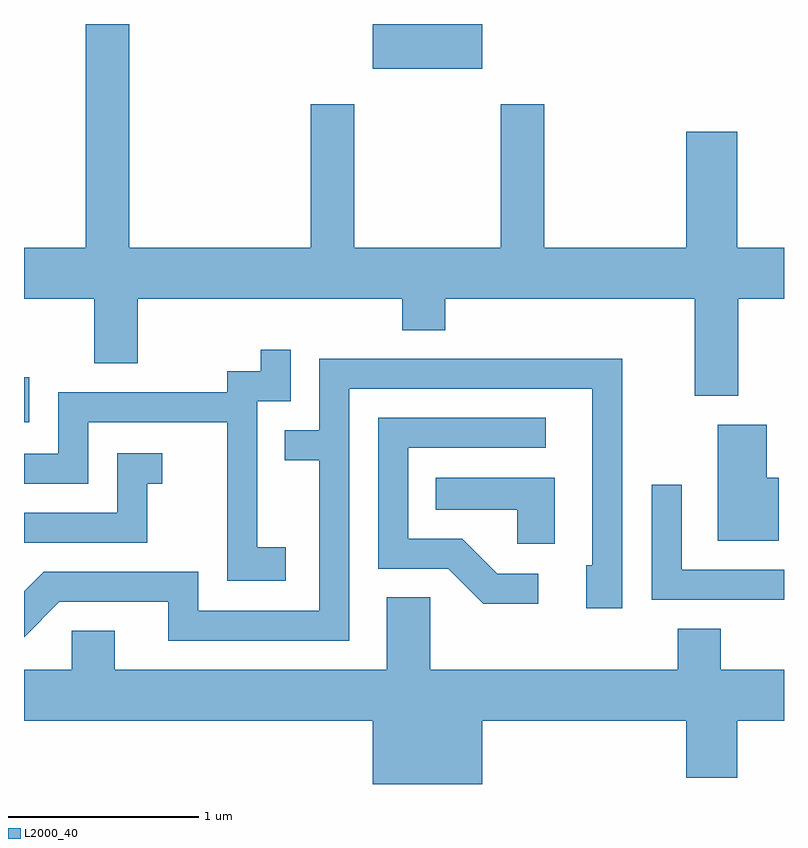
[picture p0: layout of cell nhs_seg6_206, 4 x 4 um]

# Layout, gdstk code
import gdstk
lib = gdstk.Library(unit=1e-6, precision=1e-09)
def R(c, l, rs):  # rectangles x0, y0, x1, y1
    for r in rs: c.add(gdstk.rectangle(r[:2], r[2:], *l))
def P(c, l, *ps):  # polygons
    for p in ps: c.add(gdstk.Polygon(p, *l))
L2000_40 = (2000, 40)

nhs_seg6_206 = lib.new_cell('nhs_seg6_206')
R(nhs_seg6_206, L2000_40, [(191.611,1536.066,191.639,1536.303), (193.446,1537.926,194.024,1538.162)])
P(nhs_seg6_206, L2000_40, [(195.369,1536.716),(195.611,1536.716),(195.611,1536.984),(195.364,1536.984),(195.364,1537.594),(195.096,1537.594),(195.096,1536.984),(194.349,1536.984),(194.349,1537.739),(194.121,1537.739),(194.121,1536.984),(193.349,1536.984),(193.349,1537.739),(193.121,1537.739),(193.121,1536.984),(192.164,1536.984),(192.164,1538.162),(191.936,1538.162),(191.936,1536.984),(191.611,1536.984),(191.611,1536.716),(191.981,1536.716),(191.981,1536.376),(192.209,1536.376),(192.209,1536.716),(193.601,1536.716),(193.601,1536.551),(193.829,1536.551),(193.829,1536.716),(195.141,1536.716),(195.141,1536.206),(195.369,1536.206)],
  [(192.989,1535.409),(192.839,1535.409),(192.839,1536.176),(193.014,1536.176),(193.014,1536.448),(192.856,1536.448),(192.856,1536.334),(192.681,1536.334),(192.681,1536.224),(191.791,1536.224),(191.791,1535.899),(191.611,1535.899),(191.611,1535.741),(191.949,1535.741),(191.949,1536.066),(192.681,1536.066),(192.681,1535.231),(192.989,1535.231)],
  [(193.324,1536.241),(194.601,1536.241),(194.601,1535.314),(194.571,1535.314),(194.571,1535.086),(194.759,1535.086),(194.759,1536.399),(193.166,1536.399),(193.166,1536.024),(192.983,1536.024),(192.983,1535.866),(193.166,1535.866),(193.166,1535.074),(192.529,1535.074),(192.529,1535.279),(191.714,1535.279),(191.611,1535.176),(191.611,1534.935),(191.797,1535.121),(192.371,1535.121),(192.371,1534.916),(193.324,1534.916)],
  [(194.318,1535.269),(194.102,1535.269),(193.917,1535.454),(193.634,1535.454),(193.634,1535.931),(194.358,1535.931),(194.358,1536.089),(193.476,1536.089),(193.476,1535.296),(193.844,1535.296),(194.029,1535.111),(194.318,1535.111)],
  [(195.584,1535.774),(195.519,1535.774),(195.519,1536.054),(195.261,1536.054),(195.261,1535.441),(195.584,1535.441)],
  [(192.259,1535.741),(192.338,1535.741),(192.338,1535.904),(192.101,1535.904),(192.101,1535.589),(191.611,1535.589),(191.611,1535.431),(192.259,1535.431)],
  [(194.404,1535.774),(193.778,1535.774),(193.778,1535.606),(194.206,1535.606),(194.206,1535.426),(194.404,1535.426)],
  [(195.611,1535.289),(195.074,1535.289),(195.074,1535.738),(194.916,1535.738),(194.916,1535.131),(195.611,1535.131)],
  [(194.024,1534.496),(195.096,1534.496),(195.096,1534.196),(195.364,1534.196),(195.364,1534.496),(195.611,1534.496),(195.611,1534.764),(195.279,1534.764),(195.279,1534.979),(195.051,1534.979),(195.051,1534.764),(193.749,1534.764),(193.749,1535.144),(193.521,1535.144),(193.521,1534.764),(192.089,1534.764),(192.089,1534.969),(191.861,1534.969),(191.861,1534.764),(191.611,1534.764),(191.611,1534.496),(193.446,1534.496),(193.446,1534.162),(194.024,1534.162)])

lib.write_gds('nhs_seg6_206.gds')
